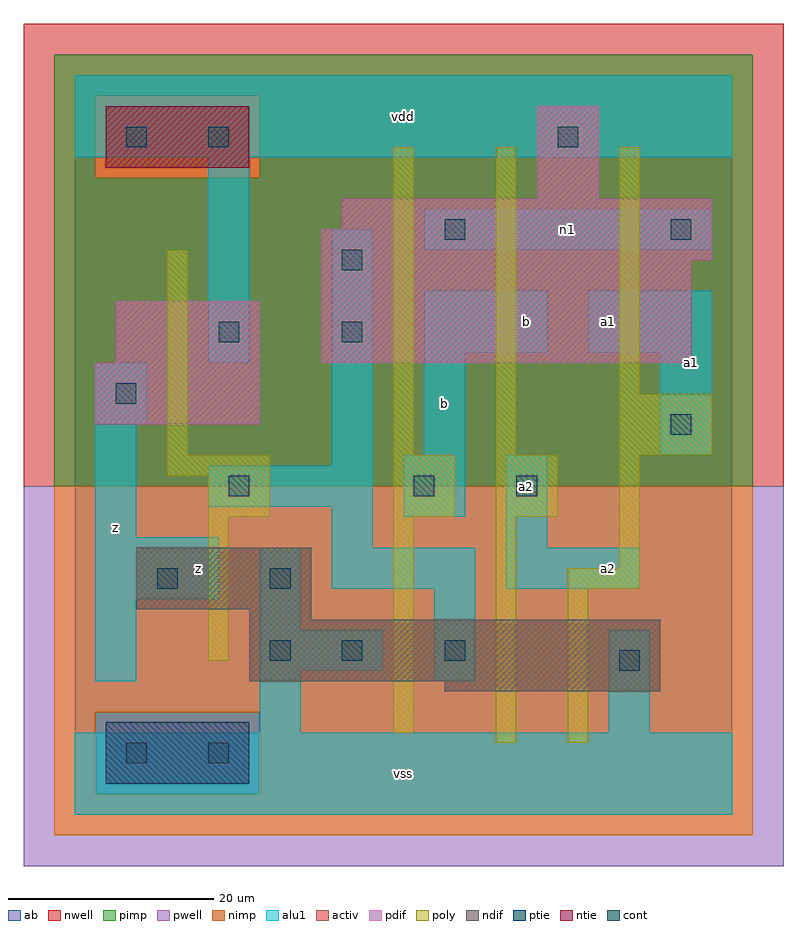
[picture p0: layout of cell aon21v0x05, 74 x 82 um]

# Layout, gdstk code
import gdstk
lib = gdstk.Library(unit=1e-6, precision=1e-09)
def R(c, l, rs):  # rectangles x0, y0, x1, y1
    for r in rs: c.add(gdstk.rectangle(r[:2], r[2:], *l))
ndif = (3, 0)
pdif = (4, 0)
ntie = (5, 0)
ptie = (6, 0)
cont = (25, 0)
pwell = (41, 0)
nwell = (42, 0)
activ = (43, 0)
pimp = (44, 0)
nimp = (45, 0)
poly = (46, 0)
alu1 = (49, 0)
ab = (63, 0)

aon21v0x05 = lib.new_cell('aon21v0x05')
R(aon21v0x05, ndif, [(36,12,57,13), (17,13,57,19), (17,19,23,20), (6,20,23,26)])
R(aon21v0x05, pdif, [(2,38,18,44), (4,44,18,50), (24,44,60,54), (24,54,62,57), (26,57,62,60), (45,60,51,69)])
R(aon21v0x05, ntie, [(3,63,17,69)])
R(aon21v0x05, ptie, [(3,3,17,9)])
R(aon21v0x05, cont, [(5,5,7,7), (13,5,15,7), (53,14,55,16), (19,15,21,17), (26,15,28,17), (36,15,38,17), (8,22,10,24), (19,22,21,24), (15,31,17,33), (33,31,35,33), (43,31,45,33), (58,37,60,39), (4,40,6,42), (14,46,16,48), (26,46,28,48), (26,53,28,55), (36,56,38,58), (58,56,60,58), (5,65,7,67), (13,65,15,67), (47,65,49,67)])
R(aon21v0x05, pwell, [(-5,-5,69,32)])
R(aon21v0x05, nwell, [(-5,32,69,77)])
R(aon21v0x05, activ, [(3,3,17,9), (36,12,57,13), (17,13,57,19), (17,19,23,20), (6,20,23,26), (2,38,18,44), (4,44,18,50), (24,44,60,54), (24,54,62,57), (26,57,62,60), (45,60,51,69), (3,63,17,69)])
R(aon21v0x05, pimp, [(2,2,18,10), (-2,32,66,62), (-2,62,2,70), (18,62,66,70), (-2,70,66,74)])
R(aon21v0x05, nimp, [(-2,-2,66,2), (-2,2,2,10), (18,2,66,10), (-2,10,66,32), (2,62,18,70)])
R(aon21v0x05, poly, [(41,7,43,29), (48,7,50,22), (31,8,33,29), (13,15,15,29), (48,22,55,24), (53,24,55,35), (13,29,19,33), (31,29,37,35), (41,29,47,35), (9,33,19,35), (9,35,11,55), (31,35,33,65), (41,35,43,65), (53,35,62,41), (53,41,55,65)])
R(aon21v0x05, alu1, [(0,0,64,8), (18,8,22,14), (52,8,56,18), (2,13,6,21), (35,13,39,22), (18,14,30,18), (18,18,22,26), (2,21,14,27), (25,22,39,26), (42,22,55,26), (25,26,29,30), (42,26,46,35), (2,27,6,38), (32,29,38,35), (13,30,29,34), (25,34,29,57), (34,35,38,45), (57,35,62,45), (2,38,7,44), (13,44,17,64), (34,45,46,51), (50,45,62,51), (34,55,62,59), (0,64,64,72)])
R(aon21v0x05, ab, [(0,0,64,72)])
aon21v0x05.add(gdstk.Label('n1', (48,57), layer=49, texttype=0))
aon21v0x05.add(gdstk.Label('z', (4,28), layer=49, texttype=0))
aon21v0x05.add(gdstk.Label('z', (12,24), layer=49, texttype=0))
aon21v0x05.add(gdstk.Label('vss', (32,4), layer=49, texttype=0))
aon21v0x05.add(gdstk.Label('a2', (44,32), layer=49, texttype=0))
aon21v0x05.add(gdstk.Label('b', (36,40), layer=49, texttype=0))
aon21v0x05.add(gdstk.Label('b', (44,48), layer=49, texttype=0))
aon21v0x05.add(gdstk.Label('vdd', (32,68), layer=49, texttype=0))
aon21v0x05.add(gdstk.Label('a2', (52,24), layer=49, texttype=0))
aon21v0x05.add(gdstk.Label('a1', (52,48), layer=49, texttype=0))
aon21v0x05.add(gdstk.Label('a1', (60,44), layer=49, texttype=0))

lib.write_gds('aon21v0x05.gds')
